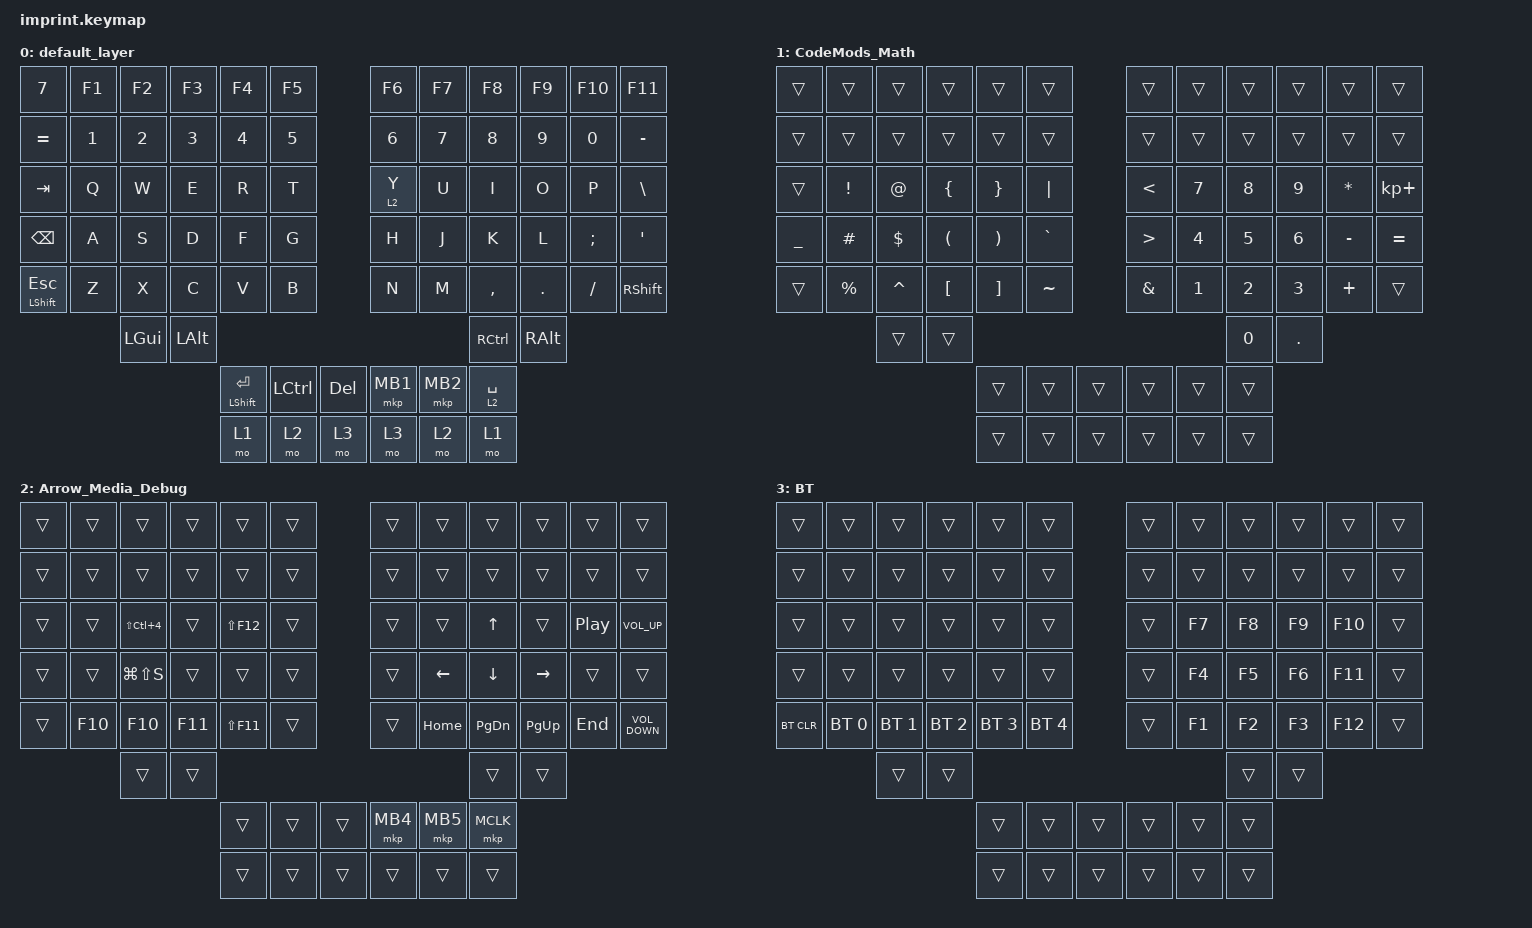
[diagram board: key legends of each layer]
#include <behaviors.dtsi>
#include <dt-bindings/zmk/bt.h>
#include <dt-bindings/zmk/keys.h>
#include <dt-bindings/zmk/pointing.h>
#include <dt-bindings/zmk/rgb.h>
#include <input/processors.dtsi>
#include <dt-bindings/zmk/input_transform.h>

/ {
    chosen { zmk,matrix-transform = &imprint_function_row; };

    keymap {
        compatible = "zmk,keymap";

        default_layer {
            bindings = <
&kp N7            &kp F1  &kp F2    &kp F3    &kp F4                &kp F5                   &kp F6    &kp F7    &kp F8       &kp F9    &kp F10   &kp F11
&kp EQL           &kp N1  &kp N2    &kp N3    &kp N4                &kp N5                   &kp N6    &kp N7    &kp N8       &kp N9    &kp N0    &kp MINUS
&kp TAB           &kp Q   &kp W     &kp E     &kp R                 &kp T                    &lt 2 Y   &kp U     &kp I        &kp O     &kp P     &kp BSLH
&kp BACKSPACE     &kp A   &kp S     &kp D     &kp F                 &kp G                    &kp H     &kp J     &kp K        &kp L     &kp SEMI  &kp SQT
&mt LSHFT ESCAPE  &kp Z   &kp X     &kp C     &kp V                 &kp B                    &kp N     &kp M     &kp COMMA    &kp DOT   &kp FSLH  &kp RSHFT
                          &kp LGUI  &kp LALT                                                                     &kp RCTRL     &kp RALT
                                              &mt LEFT_SHIFT ENTER  &kp LCTRL  &kp DELETE    &mkp MB1  &mkp MB2  &lt 2 SPACE
                                              &mo 1                 &mo 2      &mo 3         &mo 3     &mo 2     &mo 1
            >;
        };

        CodeMods_Math {
            bindings = <
&trans          &trans           &trans       &trans                &trans                 &trans               &trans            &trans        &trans        &trans        &trans        &trans
&trans          &trans           &trans       &trans                &trans                 &trans               &trans            &trans        &trans        &trans        &trans        &trans
&trans          &kp EXCLAMATION  &kp AT_SIGN  &kp LEFT_BRACE        &kp RIGHT_BRACE        &kp PIPE             &kp LESS_THAN     &kp NUMBER_7  &kp NUMBER_8  &kp NUMBER_9  &kp ASTERISK  &kp KP_PLUS
&kp UNDERSCORE  &kp POUND        &kp DOLLAR   &kp LEFT_PARENTHESIS  &kp RIGHT_PARENTHESIS  &kp GRAVE            &kp GREATER_THAN  &kp NUMBER_4  &kp NUMBER_5  &kp NUMBER_6  &kp MINUS     &kp EQUAL
&trans          &kp PERCENT      &kp CARET    &kp LEFT_BRACKET      &kp RIGHT_BRACKET      &kp TILDE            &kp AMPERSAND     &kp NUMBER_1  &kp NUMBER_2  &kp NUMBER_3  &kp PLUS      &trans
                                 &trans       &trans                                                                                            &kp NUMBER_0  &kp DOT
                                                                    &trans                 &trans     &trans    &trans            &trans        &trans
                                                                    &trans                 &trans     &trans    &trans            &trans        &trans
            >;
        };

        Arrow_Media_Debug {
            bindings = <
&trans  &trans   &trans                &trans   &trans       &trans            &trans    &trans           &trans          &trans           &trans            &trans
&trans  &trans   &trans                &trans   &trans       &trans            &trans    &trans           &trans          &trans           &trans            &trans
&trans  &trans   &kp LS(LC(NUMBER_4))  &trans   &kp LS(F12)  &trans            &trans    &trans           &kp UP_ARROW    &trans           &kp C_PLAY_PAUSE  &kp C_VOLUME_UP
&trans  &trans   &kp LG(LS(S))         &trans   &trans       &trans            &trans    &kp LEFT_ARROW   &kp DOWN_ARROW  &kp RIGHT_ARROW  &trans            &trans
&trans  &kp F10  &kp F10               &kp F11  &kp LS(F11)  &trans            &trans    &kp HOME         &kp PAGE_DOWN   &kp PAGE_UP      &kp END           &kp C_VOLUME_DOWN
                 &trans                &trans                                                             &trans          &trans
                                                &trans       &trans  &trans    &mkp MB4  &mkp MB5         &mkp MCLK
                                                &trans       &trans  &trans    &trans    &trans           &trans
            >;
        };

        BT {
            bindings = <
&trans      &trans        &trans        &trans        &trans        &trans                  &trans  &trans  &trans        &trans  &trans   &trans
&trans      &trans        &trans        &trans        &trans        &trans                  &trans  &trans  &trans        &trans  &trans   &trans
&trans      &trans        &trans        &trans        &trans        &trans                  &trans  &kp F7  &kp F8        &kp F9  &kp F10  &trans
&trans      &trans        &trans        &trans        &trans        &trans                  &trans  &kp F4  &kp F5        &kp F6  &kp F11  &trans
&bt BT_CLR  &bt BT_SEL 0  &bt BT_SEL 1  &bt BT_SEL 2  &bt BT_SEL 3  &bt BT_SEL 4            &trans  &kp F1  &kp F2        &kp F3  &kp F12  &trans
                          &trans        &trans                                                              &trans        &trans
                                                      &trans        &trans        &trans    &trans  &trans  &trans
                                                      &trans        &trans        &trans    &trans  &trans  &trans
            >;
        };
    };
};

// right hand trackball configuration

&trackball_peripheral_listener {
    input-processors =
        // Configure for smooth mouse movement
        <&zip_xy_scaler 1 1>;
};

//left hand trackball configuration

&trackball_central_listener {
    input-processors =
        // multiply sensitivity by 1, divide by 3 (make it slower for scrolling),
        <&zip_xy_scaler 1 10>,
        // make this trackball output scrolling events by default instead of cursor movement,
        <&zip_xy_to_scroll_mapper>,
        // invert vertical scrolling so that the view moves in the same direction as the top of the trackball.
        <&zip_scroll_transform INPUT_TRANSFORM_Y_INVERT>;
};
